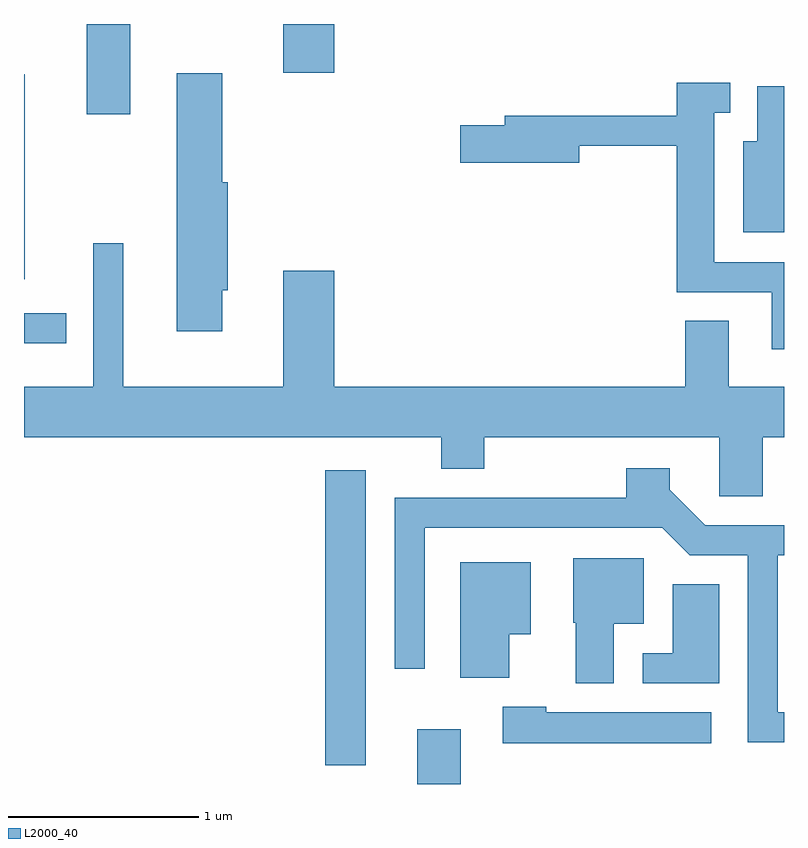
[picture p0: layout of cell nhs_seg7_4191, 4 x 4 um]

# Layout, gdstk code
import gdstk
lib = gdstk.Library(unit=1e-6, precision=1e-09)
def R(c, l, rs):  # rectangles x0, y0, x1, y1
    for r in rs: c.add(gdstk.rectangle(r[:2], r[2:], *l))
def P(c, l, *ps):  # polygons
    for p in ps: c.add(gdstk.Polygon(p, *l))
L2000_40 = (2000, 40)

nhs_seg7_4191 = lib.new_cell('nhs_seg7_4191')
R(nhs_seg7_4191, L2000_40, [(315.681,1730.252,315.909,1730.539), (315.196,1730.351,315.409,1731.904), (313.611,1732.571,313.833,1732.729), (313.611,1732.908,313.614,1733.988), (313.941,1733.776,314.169,1734.252), (314.976,1733.996,315.244,1734.252)])
P(nhs_seg7_4191, L2000_40, [(314.654,1732.851),(314.684,1732.851),(314.684,1733.419),(314.654,1733.419),(314.654,1733.994),(314.416,1733.994),(314.416,1732.636),(314.654,1732.636)],
  [(317.611,1732.999),(317.244,1732.999),(317.244,1733.786),(317.328,1733.786),(317.328,1733.944),(317.046,1733.944),(317.046,1733.769),(316.141,1733.769),(316.141,1733.719),(315.906,1733.719),(315.906,1733.521),(316.534,1733.521),(316.534,1733.611),(317.046,1733.611),(317.046,1732.841),(317.546,1732.841),(317.546,1732.541),(317.611,1732.541)],
  [(317.611,1733.924),(317.471,1733.924),(317.471,1733.634),(317.396,1733.634),(317.396,1733.156),(317.611,1733.156)],
  [(317.499,1732.076),(317.611,1732.076),(317.611,1732.344),(317.319,1732.344),(317.319,1732.689),(317.091,1732.689),(317.091,1732.344),(315.244,1732.344),(315.244,1732.954),(314.976,1732.954),(314.976,1732.344),(314.134,1732.344),(314.134,1733.098),(313.976,1733.098),(313.976,1732.344),(313.611,1732.344),(313.611,1732.076),(315.806,1732.076),(315.806,1731.911),(316.034,1731.911),(316.034,1732.076),(317.271,1732.076),(317.271,1731.766),(317.499,1731.766)],
  [(317.611,1730.629),(317.579,1730.629),(317.579,1731.456),(317.611,1731.456),(317.611,1731.614),(317.197,1731.614),(317.009,1731.802),(317.009,1731.914),(316.781,1731.914),(316.781,1731.759),(315.561,1731.759),(315.561,1730.858),(315.719,1730.858),(315.719,1731.601),(316.969,1731.601),(317.114,1731.456),(317.421,1731.456),(317.421,1730.471),(317.611,1730.471)],
  [(316.714,1731.096),(316.874,1731.096),(316.874,1731.439),(316.501,1731.439),(316.501,1731.1),(316.516,1731.1),(316.516,1730.781),(316.714,1730.781)],
  [(316.164,1731.041),(316.279,1731.041),(316.279,1731.419),(315.906,1731.419),(315.906,1730.811),(316.164,1730.811)],
  [(317.269,1731.304),(317.026,1731.304),(317.026,1730.939),(316.868,1730.939),(316.868,1730.781),(317.269,1730.781)],
  [(317.228,1730.629),(316.359,1730.629),(316.359,1730.659),(316.131,1730.659),(316.131,1730.466),(317.228,1730.466)])

lib.write_gds('nhs_seg7_4191.gds')
